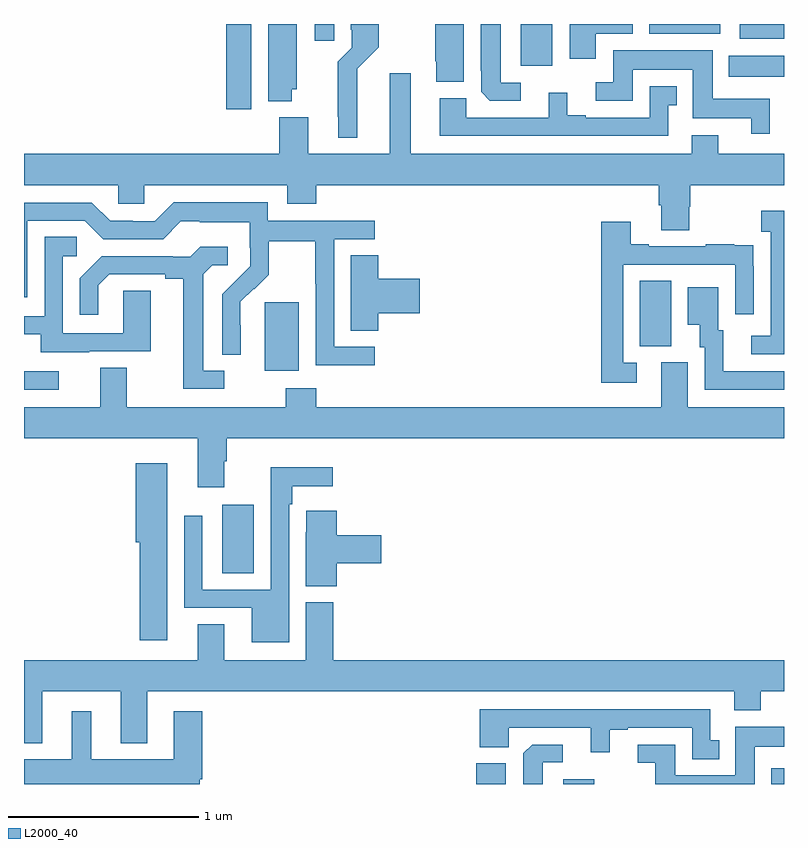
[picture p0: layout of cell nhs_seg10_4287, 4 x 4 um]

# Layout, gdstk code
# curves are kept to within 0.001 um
import gdstk
lib = gdstk.Library(unit=1e-6, precision=1e-09)
def R(c, l, rs):  # rectangles x0, y0, x1, y1
    for r in rs: c.add(gdstk.rectangle(r[:2], r[2:], *l))
def P(c, l, *ps):  # polygons
    for p in ps: c.add(gdstk.Polygon(p, *l))
L2000_40 = (2000, 40)

nhs_seg10_4287 = lib.new_cell('nhs_seg10_4287')
R(nhs_seg10_4287, L2000_40, [(353.381,1294.5,353.536,1294.609), (353.837,1294.5,354.001,1294.525), (354.932,1294.5,355,1294.582), (352.043,1295.608,352.21,1295.971), (351,1296.576,351.184,1296.672), (352.268,1296.674,352.447,1297.035), (354.242,1296.805,354.406,1297.148), (352.064,1298.052,352.195,1298.5), (354.71,1298.222,355,1298.332), (353.615,1298.28,353.779,1298.5), (352.529,1298.412,352.633,1298.5), (354.767,1298.423,355,1298.5), (354.29,1298.45,354.664,1298.5)])
P(nhs_seg10_4287, L2000_40, [(354.01,1298.45),(354.205,1298.45),(354.205,1298.5),(353.873,1298.5),(353.873,1298.316),(354.01,1298.316)],
  [(353.614,1298.19),(353.509,1298.19),(353.509,1298.5),(353.405,1298.5),(353.405,1298.254),(353.406,1298.254),(353.406,1298.143),(353.452,1298.097),(353.614,1298.097)],
  [(352.753,1298.264),(352.866,1298.377),(352.866,1298.5),(352.721,1298.5),(352.721,1298.47),(352.725,1298.47),(352.725,1298.376),(352.651,1298.302),(352.651,1298.011),(352.655,1298.011),(352.655,1297.901),(352.753,1297.901)],
  [(353.314,1298.5),(353.164,1298.5),(353.164,1298.305),(353.171,1298.305),(353.171,1298.195),(353.314,1298.195)],
  [(352.408,1298.157),(352.435,1298.157),(352.435,1298.498),(352.286,1298.498),(352.286,1298.093),(352.408,1298.093)],
  [(354.926,1298.107),(354.625,1298.107),(354.625,1298.362),(354.101,1298.362),(354.101,1298.193),(354.009,1298.193),(354.009,1298.097),(354.205,1298.097),(354.205,1298.258),(354.521,1298.258),(354.521,1298.003),(354.827,1298.003),(354.827,1297.923),(354.926,1297.923)],
  [(354.501,1297.539),(354.506,1297.539),(354.506,1297.652),(355,1297.652),(355,1297.816),(354.655,1297.816),(354.655,1297.915),(354.515,1297.915),(354.515,1297.816),(353.035,1297.816),(353.035,1298.242),(352.925,1298.242),(352.925,1297.816),(352.495,1297.816),(352.495,1298.008),(352.343,1298.008),(352.343,1297.816),(351,1297.816),(351,1297.652),(351.495,1297.652),(351.495,1297.554),(351.633,1297.554),(351.633,1297.652),(352.385,1297.652),(352.385,1297.553),(352.538,1297.553),(352.538,1297.652),(354.341,1297.652),(354.341,1297.546),(354.353,1297.546),(354.353,1297.414),(354.501,1297.414)],
  [(354.39,1298.073),(354.436,1298.073),(354.436,1298.173),(354.294,1298.173),(354.294,1298.007),(353.956,1298.007),(353.956,1298.02),(353.86,1298.02),(353.86,1298.137),(353.762,1298.137),(353.762,1298.007),(353.328,1298.007),(353.328,1298.11),(353.189,1298.11),(353.189,1297.911),(354.39,1297.911)],
  [(352.846,1296.801),(352.632,1296.801),(352.632,1297.368),(352.846,1297.368),(352.846,1297.464),(352.284,1297.464),(352.284,1297.561),(351.787,1297.561),(351.687,1297.461),(351.572,1297.461),(351.572,1297.464),(351.453,1297.464),(351.357,1297.56),(351,1297.56),(351,1297.062),(351.018,1297.062),(351.018,1297.464),(351.321,1297.464),(351.417,1297.368),(351.732,1297.368),(351.825,1297.461),(351.925,1297.461),(351.925,1297.457),(352.188,1297.457),(352.188,1297.323),(352.19,1297.323),(352.19,1297.226),(352.044,1297.078),(352.044,1296.76),(352.14,1296.76),(352.139,1297.037),(352.209,1297.107),(352.212,1297.104),(352.289,1297.181),(352.289,1297.356),(352.534,1297.356),(352.534,1297.132),(352.536,1297.132),(352.536,1296.703),(352.846,1296.703)],
  [(355,1297.516),(354.879,1297.516),(354.879,1297.406),(354.93,1297.406),(354.93,1296.858),(354.828,1296.858),(354.828,1296.762),(355,1296.762)],
  [(354.226,1296.717),(354.153,1296.717),(354.153,1297.233),(354.744,1297.233),(354.744,1296.972),(354.84,1296.972),(354.84,1297.226),(354.839,1297.226),(354.839,1297.335),(354.737,1297.335),(354.737,1297.342),(354.589,1297.342),(354.589,1297.329),(354.289,1297.329),(354.289,1297.342),(354.193,1297.342),(354.193,1297.459),(354.037,1297.459),(354.037,1296.612),(354.226,1296.612)],
  [(351.343,1296.777),(351.667,1296.777),(351.667,1297.097),(351.522,1297.097),(351.522,1296.873),(351.204,1296.873),(351.204,1297.278),(351.277,1297.278),(351.277,1297.379),(351.108,1297.379),(351.108,1296.963),(351,1296.963),(351,1296.867),(351.089,1296.867),(351.089,1296.773),(351.343,1296.773)],
  [(352.054,1296.675),(351.943,1296.675),(351.943,1297.183),(351.99,1297.23),(352.072,1297.23),(352.072,1297.327),(351.928,1297.327),(351.876,1297.275),(351.782,1297.275),(351.782,1297.278),(351.41,1297.278),(351.294,1297.162),(351.294,1296.969),(351.391,1296.969),(351.391,1297.125),(351.448,1297.182),(351.743,1297.182),(351.743,1297.16),(351.839,1297.16),(351.839,1296.579),(352.054,1296.579)],
  [(352.865,1296.977),(353.083,1296.977),(353.083,1297.16),(352.865,1297.16),(352.865,1297.283),(352.721,1297.283),(352.721,1296.886),(352.865,1296.886)],
  [(355,1296.672),(354.679,1296.672),(354.679,1296.888),(354.655,1296.888),(354.655,1297.114),(354.494,1297.114),(354.494,1296.917),(354.557,1296.917),(354.557,1296.798),(354.582,1296.798),(354.582,1296.576),(355,1296.576)],
  [(355,1296.484),(354.493,1296.484),(354.493,1296.72),(354.353,1296.72),(354.353,1296.484),(352.538,1296.484),(352.538,1296.583),(352.378,1296.583),(352.378,1296.484),(351.541,1296.484),(351.541,1296.692),(351.401,1296.692),(351.401,1296.484),(351,1296.484),(351,1296.32),(351.914,1296.32),(351.914,1296.063),(352.054,1296.063),(352.054,1296.2),(352.067,1296.2),(352.067,1296.32),(355,1296.32)],
  [(351.754,1296.187),(351.587,1296.187),(351.587,1295.772),(351.608,1295.772),(351.608,1295.256),(351.754,1295.256)],
  [(352.395,1295.972),(352.411,1295.972),(352.411,1296.068),(352.624,1296.068),(352.624,1296.166),(352.299,1296.166),(352.299,1295.523),(351.939,1295.523),(351.939,1295.911),(351.843,1295.911),(351.843,1295.427),(352.199,1295.427),(352.199,1295.246),(352.395,1295.246)],
  [(352.646,1295.663),(352.879,1295.663),(352.879,1295.81),(352.646,1295.81),(352.646,1295.938),(352.485,1295.938),(352.485,1295.825),(352.484,1295.825),(352.484,1295.542),(352.646,1295.542)],
  [(351.097,1294.988),(351.509,1294.988),(351.509,1294.715),(351.649,1294.715),(351.649,1294.988),(354.737,1294.988),(354.737,1294.889),(354.877,1294.889),(354.877,1294.988),(355,1294.988),(355,1295.152),(352.628,1295.152),(352.628,1295.457),(352.484,1295.457),(352.484,1295.152),(352.054,1295.152),(352.054,1295.342),(351.914,1295.342),(351.914,1295.152),(351,1295.152),(351,1294.715),(351.097,1294.715)],
  [(354.658,1294.731),(354.612,1294.731),(354.612,1294.893),(353.399,1294.893),(353.399,1294.694),(353.55,1294.694),(353.55,1294.797),(353.984,1294.797),(353.984,1294.668),(354.082,1294.668),(354.082,1294.785),(354.178,1294.785),(354.178,1294.797),(354.516,1294.797),(354.516,1294.631),(354.658,1294.631)],
  [(351.925,1294.526),(351.938,1294.526),(351.938,1294.882),(351.788,1294.882),(351.788,1294.63),(351.355,1294.63),(351.355,1294.882),(351.251,1294.882),(351.251,1294.63),(351,1294.63),(351,1294.5),(351.925,1294.5)],
  [(354.847,1294.697),(355,1294.697),(355,1294.801),(354.743,1294.801),(354.743,1294.546),(354.427,1294.546),(354.427,1294.707),(354.231,1294.707),(354.231,1294.611),(354.323,1294.611),(354.323,1294.5),(354.847,1294.5)],
  [(353.731,1294.614),(353.836,1294.614),(353.836,1294.707),(353.674,1294.707),(353.628,1294.661),(353.628,1294.55),(353.627,1294.55),(353.627,1294.5),(353.731,1294.5)])

lib.write_gds('nhs_seg10_4287.gds')
